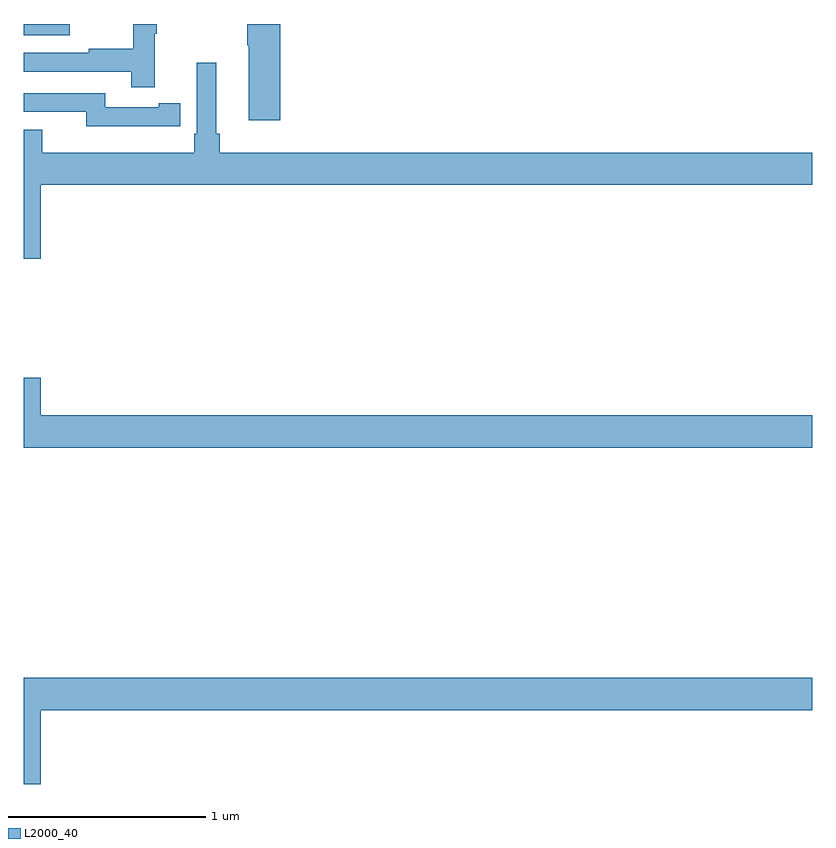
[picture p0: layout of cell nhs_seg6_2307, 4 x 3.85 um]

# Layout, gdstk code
import gdstk
lib = gdstk.Library(unit=1e-6, precision=1e-09)
def R(c, l, rs):  # rectangles x0, y0, x1, y1
    for r in rs: c.add(gdstk.rectangle(r[:2], r[2:], *l))
def P(c, l, *ps):  # polygons
    for p in ps: c.add(gdstk.Polygon(p, *l))
L2000_40 = (2000, 40)

nhs_seg6_2307 = lib.new_cell('nhs_seg6_2307')
R(nhs_seg6_2307, L2000_40, [(249,933.443,249.235,933.5)])
P(nhs_seg6_2307, L2000_40, [(249.665,933.451),(249.676,933.451),(249.676,933.5),(249.555,933.5),(249.555,933.374),(249.331,933.374),(249.331,933.354),(249,933.354),(249,933.258),(249.547,933.258),(249.547,933.18),(249.665,933.18)],
  [(250.301,933.5),(250.135,933.5),(250.135,933.391),(250.142,933.391),(250.142,933.012),(250.301,933.012)],
  [(249.088,932.684),(253,932.684),(253,932.848),(249.995,932.848),(249.995,932.944),(249.976,932.944),(249.976,933.304),(249.879,933.304),(249.879,932.944),(249.866,932.944),(249.866,932.848),(249.094,932.848),(249.094,932.965),(249,932.965),(249,932.31),(249.088,932.31)],
  [(249.686,932.982),(249.794,932.982),(249.794,933.098),(249.686,933.098),(249.686,933.078),(249.414,933.078),(249.414,933.15),(249,933.15),(249,933.054),(249.318,933.054),(249.318,932.981),(249.686,932.981)],
  [(253,931.516),(249.088,931.516),(249.088,931.705),(249,931.705),(249,931.352),(253,931.352)],
  [(249.088,930.02),(253,930.02),(253,930.184),(249,930.184),(249,929.646),(249.088,929.646)])

lib.write_gds('nhs_seg6_2307.gds')
